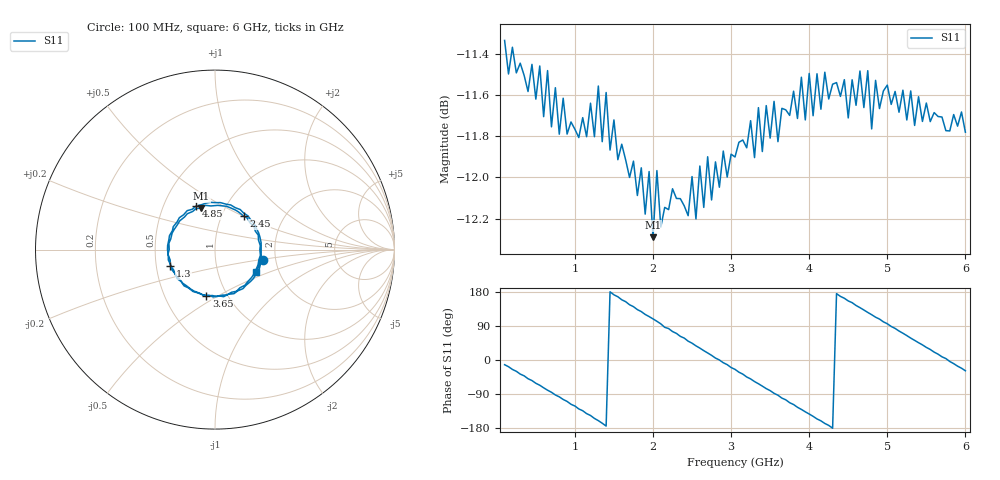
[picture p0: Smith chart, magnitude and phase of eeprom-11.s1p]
! Created with skrf 2.0.0 (http://scikit-rf.org).
# Hz S RI R 50.0
!freq ReS11 ImS11
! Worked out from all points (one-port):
!   119 points, 100 MHz to 6 GHz, reference 50 ohm
!   lowest |S11| = -12.3 dB at 2 GHz (marker M1), VSWR 1.64, Z = 38.8 + j19 ohm
!   |S11| at or under -10 dB: start of sweep to end of sweep
!   S11 on the Smith chart (normalised r, x): 100 MHz: 1.70, -0.21; 1.3 GHz: 0.59, -0.12; 2.45 GHz: 1.27, +0.51; 3.65 GHz: 0.80, -0.44; 4.85 GHz: 0.73, +0.38; 6 GHz: 1.52, -0.40
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1e8  0.2649 -0.0582
3.5e8  0.1982 -0.1773
5.5e8  0.1062 -0.2454
8.5e8  -0.0642 -0.2546
1.1e9  -0.1799 -0.1873
1.3e9  -0.2484 -0.0904
1.4e9  -0.2621 -0.026
1.6e9  -0.2388 0.092
1.85e9  -0.1545 0.1998
2e9  -0.0771 0.2303
2.15e9  0.0161 0.2465
2.35e9  0.1149 0.22
2.45e9  0.159 0.1875
2.7e9  0.2409 0.081
2.9e9  0.2529 -0.032
3.05e9  0.2309 -0.1061
3.35e9  0.1199 -0.232
3.65e9  -0.0475 -0.2567
3.8e9  -0.1218 -0.2338
4e9  -0.2114 -0.1619
4.2e9  -0.26 -0.058
4.55e9  -0.2326 0.1275
4.85e9  -0.1034 0.2442
5.1e9  0.0306 0.2618
5.3e9  0.1405 0.2231
5.5e9  0.219 0.1436
5.7e9  0.257 0.0381
6e9  0.2266 -0.1226
